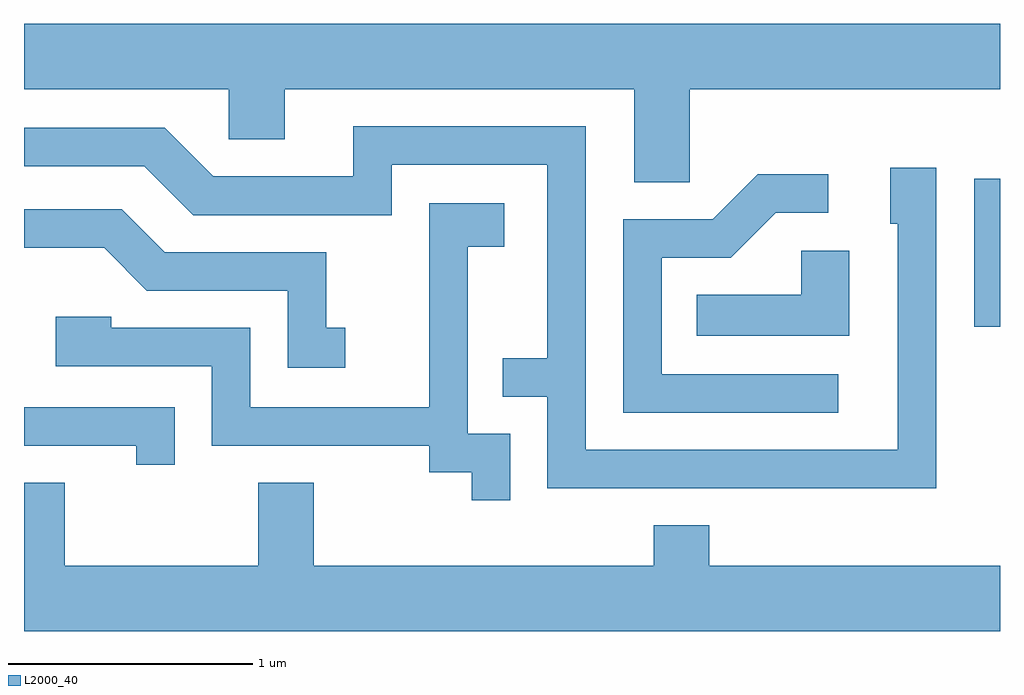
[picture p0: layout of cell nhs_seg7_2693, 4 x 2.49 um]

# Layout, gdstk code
import gdstk
lib = gdstk.Library(unit=1e-6, precision=1e-09)
def R(c, l, rs):  # rectangles x0, y0, x1, y1
    for r in rs: c.add(gdstk.rectangle(r[:2], r[2:], *l))
def P(c, l, *ps):  # polygons
    for p in ps: c.add(gdstk.Polygon(p, *l))
L2000_40 = (2000, 40)

nhs_seg7_2693 = lib.new_cell('nhs_seg7_2693')
R(nhs_seg7_2693, L2000_40, [(271.506,1720.003,271.611,1720.609)])
P(nhs_seg7_2693, L2000_40, [(270.339,1720.976),(271.611,1720.976),(271.611,1721.244),(267.611,1721.244),(267.611,1720.976),(268.451,1720.976),(268.451,1720.771),(268.679,1720.771),(268.679,1720.976),(270.111,1720.976),(270.111,1720.596),(270.339,1720.596)],
  [(271.349,1720.654),(271.161,1720.654),(271.161,1720.426),(271.191,1720.426),(271.191,1719.499),(269.914,1719.499),(269.914,1720.824),(268.961,1720.824),(268.961,1720.619),(268.387,1720.619),(268.187,1720.819),(267.611,1720.819),(267.611,1720.661),(268.104,1720.661),(268.304,1720.461),(269.119,1720.461),(269.119,1720.666),(269.756,1720.666),(269.756,1719.874),(269.573,1719.874),(269.573,1719.716),(269.756,1719.716),(269.756,1719.341),(271.349,1719.341)],
  [(270.948,1719.809),(270.224,1719.809),(270.224,1720.286),(270.507,1720.286),(270.692,1720.471),(270.908,1720.471),(270.908,1720.629),(270.619,1720.629),(270.434,1720.444),(270.066,1720.444),(270.066,1719.651),(270.948,1719.651)],
  [(269.604,1719.564),(269.429,1719.564),(269.429,1720.331),(269.579,1720.331),(269.579,1720.509),(269.271,1720.509),(269.271,1719.674),(268.539,1719.674),(268.539,1719.999),(267.969,1719.999),(267.969,1720.044),(267.741,1720.044),(267.741,1719.841),(268.381,1719.841),(268.381,1719.516),(269.271,1719.516),(269.271,1719.406),(269.446,1719.406),(269.446,1719.293),(269.604,1719.293)],
  [(268.928,1719.999),(268.849,1719.999),(268.849,1720.309),(268.187,1720.309),(268.012,1720.484),(267.611,1720.484),(267.611,1720.326),(267.939,1720.326),(268.114,1720.151),(268.691,1720.151),(268.691,1719.836),(268.928,1719.836)],
  [(270.994,1720.314),(270.796,1720.314),(270.796,1720.134),(270.368,1720.134),(270.368,1719.966),(270.994,1719.966)],
  [(268.229,1719.674),(267.611,1719.674),(267.611,1719.516),(268.071,1719.516),(268.071,1719.438),(268.229,1719.438)],
  [(271.611,1719.024),(270.419,1719.024),(270.419,1719.189),(270.191,1719.189),(270.191,1719.024),(268.799,1719.024),(268.799,1719.364),(268.571,1719.364),(268.571,1719.024),(267.779,1719.024),(267.779,1719.364),(267.611,1719.364),(267.611,1718.756),(271.611,1718.756)])

lib.write_gds('nhs_seg7_2693.gds')
